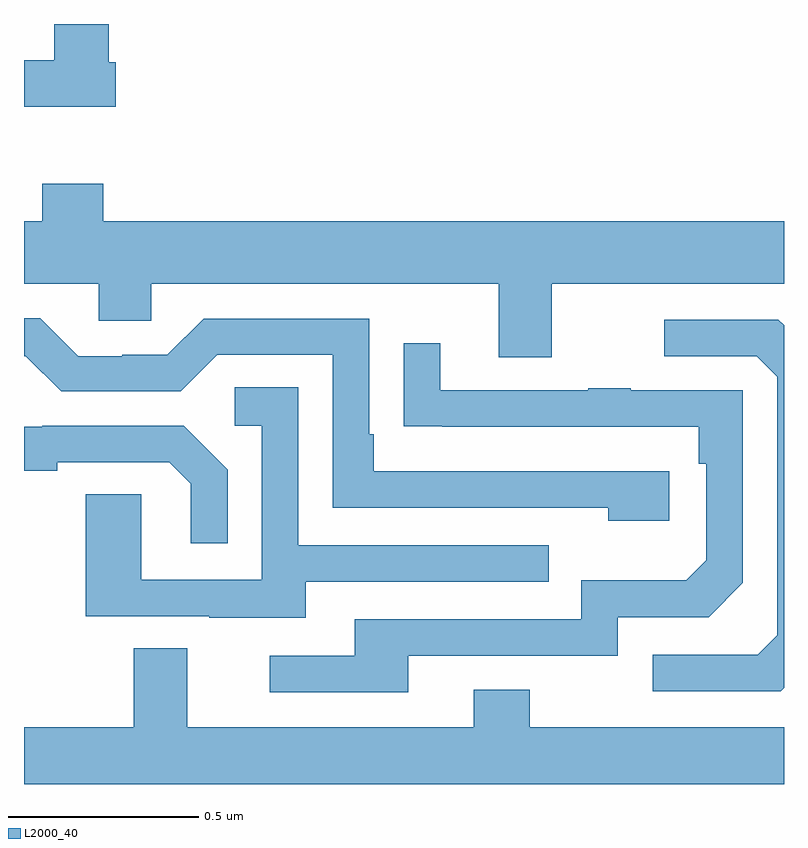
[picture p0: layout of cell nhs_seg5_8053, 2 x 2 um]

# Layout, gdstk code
import gdstk
lib = gdstk.Library(unit=1e-6, precision=1e-09)
def P(c, l, *ps):  # polygons
    for p in ps: c.add(gdstk.Polygon(p, *l))
L2000_40 = (2000, 40)

nhs_seg5_8053 = lib.new_cell('nhs_seg5_8053')
P(nhs_seg5_8053, L2000_40, [(217.241,834.699),(217.223,834.699),(217.223,834.799),(217.08,834.799),(217.08,834.703),(217,834.703),(217,834.581),(217.241,834.581)],
  [(218.389,834.116),(219,834.116),(219,834.28),(217.208,834.28),(217.208,834.379),(217.048,834.379),(217.048,834.28),(217,834.28),(217,834.116),(217.197,834.116),(217.197,834.018),(217.335,834.018),(217.335,834.116),(218.249,834.116),(218.249,833.922),(218.389,833.922)],
  [(218.698,833.622),(217.921,833.622),(217.921,833.719),(217.908,833.719),(217.908,834.024),(217.473,834.024),(217.377,833.928),(217.259,833.928),(217.259,833.925),(217.143,833.925),(217.043,834.025),(217,834.025),(217,833.925),(217.005,833.925),(217.098,833.832),(217.413,833.832),(217.509,833.928),(217.812,833.928),(217.812,833.526),(218.537,833.526),(218.537,833.492),(218.698,833.492)],
  [(219,833.052),(219,834.006),(218.985,834.021),(218.685,834.021),(218.685,833.925),(218.928,833.925),(218.982,833.871),(218.982,833.19),(218.931,833.139),(218.655,833.139),(218.655,833.043),(218.991,833.043)],
  [(218.011,833.136),(218.562,833.136),(218.562,833.238),(218.802,833.238),(218.892,833.328),(218.892,833.835),(218.597,833.835),(218.597,833.84),(218.485,833.84),(218.485,833.835),(218.095,833.835),(218.095,833.959),(217.999,833.959),(217.999,833.74),(218.101,833.74),(218.101,833.739),(218.776,833.739),(218.776,833.642),(218.796,833.642),(218.796,833.388),(218.743,833.335),(218.466,833.335),(218.466,833.232),(217.871,833.232),(217.871,833.136),(217.647,833.136),(217.647,833.04),(218.011,833.04)],
  [(217.741,833.331),(218.381,833.331),(218.381,833.427),(217.722,833.427),(217.722,833.843),(217.554,833.843),(217.554,833.742),(217.626,833.742),(217.626,833.337),(217.308,833.337),(217.308,833.561),(217.163,833.561),(217.163,833.241),(217.487,833.241),(217.487,833.237),(217.741,833.237)],
  [(217.536,833.626),(217.42,833.742),(217.048,833.742),(217.048,833.739),(217,833.739),(217,833.624),(217.087,833.624),(217.087,833.646),(217.382,833.646),(217.439,833.589),(217.439,833.433),(217.536,833.433)],
  [(219,832.948),(218.331,832.948),(218.331,833.047),(218.183,833.047),(218.183,832.948),(217.429,832.948),(217.429,833.156),(217.289,833.156),(217.289,832.948),(217,832.948),(217,832.799),(219,832.799)])

lib.write_gds('nhs_seg5_8053.gds')
